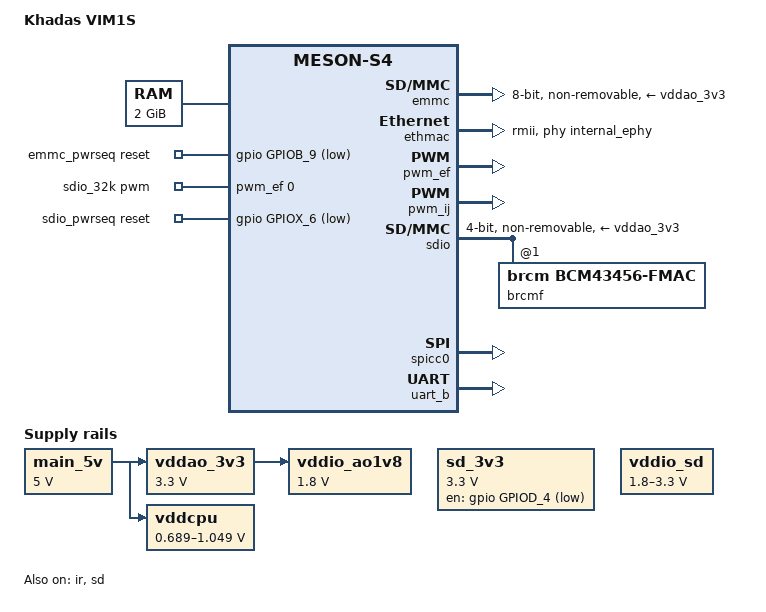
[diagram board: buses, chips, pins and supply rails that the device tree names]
// SPDX-License-Identifier: (GPL-2.0+ OR MIT)
/*
 * Copyright (c) 2026 Khadas Technology Co., Ltd.
 */

/dts-v1/;

#include "meson-s4.dtsi"

/ {
	model = "Khadas VIM1S";
	compatible = "khadas,vim1s", "amlogic,s905y4", "amlogic,s4";
	interrupt-parent = <&gic>;
	#address-cells = <2>;
	#size-cells = <2>;

	aliases {
		mmc0 = &emmc; /* eMMC */
		mmc1 = &sd; /* SD card */
		mmc2 = &sdio; /* SDIO */
		serial0 = &uart_b;
	};

	memory@0 {
		device_type = "memory";
		reg = <0x0 0x0 0x0 0x80000000>;
	};

	reserved-memory {
		#address-cells = <2>;
		#size-cells = <2>;
		ranges;

		/* 52 MiB reserved for ARM Trusted Firmware */
		secmon_reserved: secmon@5000000 {
			reg = <0x0 0x05000000 0x0 0x3400000>;
			no-map;
		};
	};

	emmc_pwrseq: emmc-pwrseq {
		compatible = "mmc-pwrseq-emmc";
		reset-gpios = <&gpio GPIOB_9 GPIO_ACTIVE_LOW>;
	};

	sdio_32k: sdio-32k {
		compatible = "pwm-clock";
		#clock-cells = <0>;
		clock-frequency = <32768>;
		pwms = <&pwm_ef 0 30518 0>; /* PWM_E at 32.768KHz */
	};

	sdio_pwrseq: sdio-pwrseq {
		compatible = "mmc-pwrseq-simple";
		reset-gpios = <&gpio GPIOX_6 GPIO_ACTIVE_LOW>;
		clocks = <&sdio_32k>;
		clock-names = "ext_clock";
	};

	main_5v: regulator-main-5v {
		compatible = "regulator-fixed";
		regulator-name = "5V";
		regulator-min-microvolt = <5000000>;
		regulator-max-microvolt = <5000000>;
		regulator-always-on;
	};

	sd_3v3: regulator-sd-3v3 {
		compatible = "regulator-fixed";
		regulator-name = "SD_3V3";
		regulator-min-microvolt = <3300000>;
		regulator-max-microvolt = <3300000>;
		gpio = <&gpio GPIOD_4 GPIO_ACTIVE_LOW>;
		regulator-always-on;
	};

	vddio_sd: regulator-vddio-sd {
		compatible = "regulator-gpio";
		regulator-name = "VDDIO_SD";
		regulator-min-microvolt = <1800000>;
		regulator-max-microvolt = <3300000>;
		gpios = <&gpio GPIOD_9 GPIO_ACTIVE_HIGH>;
		gpios-states = <1>;
		states = <1800000 1
				3300000 0>;
	};

	vddao_3v3: regulator-vddao-3v3 {
		compatible = "regulator-fixed";
		regulator-name = "VDDAO_3V3";
		regulator-min-microvolt = <3300000>;
		regulator-max-microvolt = <3300000>;
		vin-supply = <&main_5v>;
		regulator-always-on;
	};

	vddio_ao1v8: regulator-vddio-ao1v8 {
		compatible = "regulator-fixed";
		regulator-name = "VDDIO_AO1V8";
		regulator-min-microvolt = <1800000>;
		regulator-max-microvolt = <1800000>;
		vin-supply = <&vddao_3v3>;
		regulator-always-on;
	};

	/* SY8120B1ABC DC/DC Regulator. */
	vddcpu: regulator-vddcpu {
		compatible = "pwm-regulator";

		regulator-name = "VDDCPU";
		regulator-min-microvolt = <689000>;
		regulator-max-microvolt = <1049000>;

		vin-supply = <&main_5v>;

		pwms = <&pwm_ij 1 1500 0>;
		pwm-dutycycle-range = <100 0>;

		regulator-boot-on;
		regulator-always-on;
		/* Voltage Duty-Cycle */
		voltage-table = <1049000 0>,
				<1039000 3>,
				<1029000 6>,
				<1019000 9>,
				<1009000 12>,
				<999000 14>,
				<989000 17>,
				<979000 20>,
				<969000 23>,
				<959000 26>,
				<949000 29>,
				<939000 31>,
				<929000 34>,
				<919000 37>,
				<909000 40>,
				<899000 43>,
				<889000 45>,
				<879000 48>,
				<869000 51>,
				<859000 54>,
				<849000 56>,
				<839000 59>,
				<829000 62>,
				<819000 65>,
				<809000 68>,
				<799000 70>,
				<789000 73>,
				<779000 76>,
				<769000 79>,
				<759000 81>,
				<749000 84>,
				<739000 87>,
				<729000 89>,
				<719000 92>,
				<709000 95>,
				<699000 98>,
				<689000 100>;
	};
};

&emmc {
	status = "okay";
	pinctrl-0 = <&emmc_pins>, <&emmc_ds_pins>;
	pinctrl-1 = <&emmc_clk_gate_pins>;
	pinctrl-names = "default", "clk-gate";

	bus-width = <8>;
	cap-mmc-highspeed;
	mmc-ddr-1_8v;
	mmc-hs200-1_8v;
	max-frequency = <200000000>;
	non-removable;
	disable-wp;

	mmc-pwrseq = <&emmc_pwrseq>;
	vmmc-supply = <&vddao_3v3>;
	vqmmc-supply = <&vddio_ao1v8>;
};

&ethmac {
	status = "okay";
	phy-handle = <&internal_ephy>;
	phy-mode = "rmii";
};

&ir {
	status = "okay";
	pinctrl-0 = <&remote_pins>;
	pinctrl-names = "default";
};

&pwm_ef {
	status = "okay";
	pinctrl-0 = <&pwm_e_pins1>;
	pinctrl-names = "default";
};

&pwm_ij {
	status = "okay";
};

&sd {
	status = "okay";
	pinctrl-0 = <&sdcard_pins>;
	pinctrl-1 = <&sdcard_clk_gate_pins>;
	pinctrl-names = "default", "clk-gate";
	bus-width = <4>;
	cap-sd-highspeed;
	sd-uhs-sdr12;
	sd-uhs-sdr25;
	sd-uhs-sdr50;
	sd-uhs-sdr104;
	max-frequency = <200000000>;
	disable-wp;

	cd-gpios = <&gpio GPIOC_6 GPIO_ACTIVE_LOW>;

	vmmc-supply = <&sd_3v3>;
	vqmmc-supply = <&vddio_sd>;
};

&sdio {
	status = "okay";
	pinctrl-0 = <&sdio_pins>;
	pinctrl-1 = <&sdio_clk_gate_pins>;
	pinctrl-names = "default", "clk-gate";
	#address-cells = <1>;
	#size-cells = <0>;
	bus-width = <4>;
	cap-sd-highspeed;
	sd-uhs-sdr50;
	sd-uhs-sdr104;
	max-frequency = <50000000>;
	non-removable;
	disable-wp;

	no-sd;
	no-mmc;
	mmc-pwrseq = <&sdio_pwrseq>;
	vmmc-supply = <&vddao_3v3>;
	vqmmc-supply = <&vddio_ao1v8>;

	brcmf: wifi@1 {
		reg = <1>;
		compatible = "brcm,bcm43456-fmac", "brcm,bcm4329-fmac";
	};
};

&spicc0 {
	status = "okay";
	pinctrl-names = "default";
	pinctrl-0 = <&spicc0_pins_x>;
	cs-gpios = <&gpio GPIOX_10 GPIO_ACTIVE_LOW>;
};

&uart_b {
	status = "okay";
};
